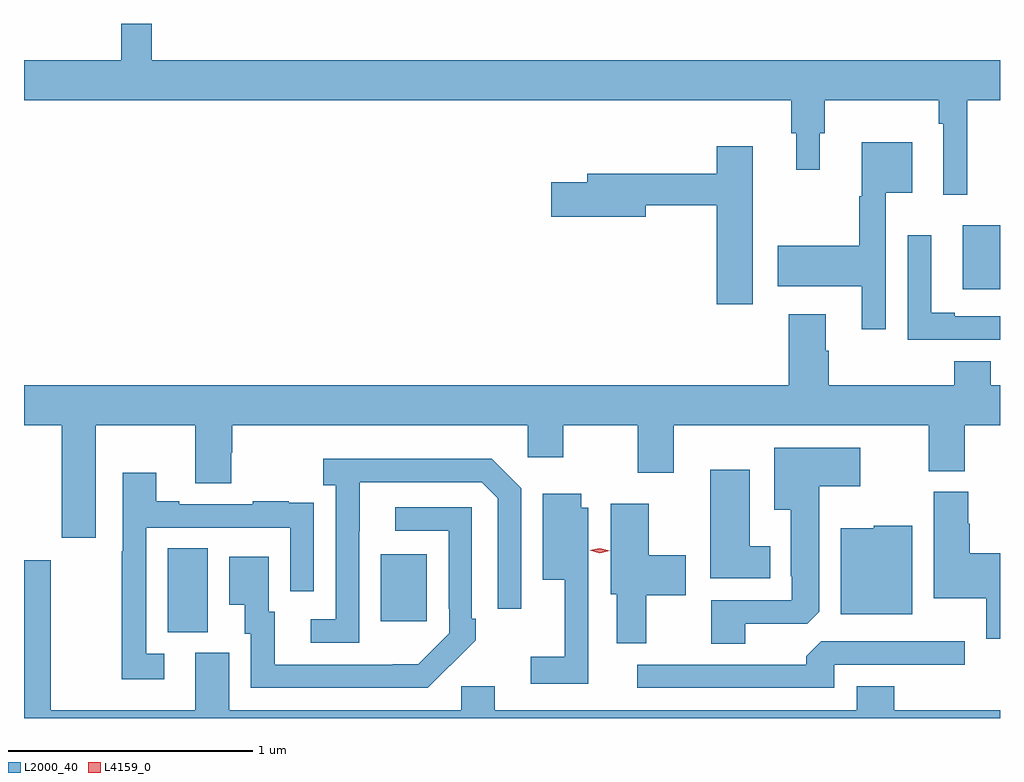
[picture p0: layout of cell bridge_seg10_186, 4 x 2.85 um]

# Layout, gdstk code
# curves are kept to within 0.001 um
import gdstk
lib = gdstk.Library(unit=1e-6, precision=1e-09)
def R(c, l, rs):  # rectangles x0, y0, x1, y1
    for r in rs: c.add(gdstk.rectangle(r[:2], r[2:], *l))
def P(c, l, *ps):  # polygons
    for p in ps: c.add(gdstk.Polygon(p, *l))
L2000_40 = (2000, 40)
L4159_0 = (4159, 0)

bridge_seg10_186 = lib.new_cell('bridge_seg10_186')
R(bridge_seg10_186, L2000_40, [(149.336,1248.853,149.5,1249.196), (150.209,1248.897,150.397,1249.171), (152.594,1250.258,152.746,1250.521)])
P(bridge_seg10_186, L2000_40, [(152.612,1251.032),(152.746,1251.032),(152.746,1251.196),(149.27,1251.196),(149.27,1251.346),(149.144,1251.346),(149.144,1251.196),(148.746,1251.196),(148.746,1251.032),(151.891,1251.032),(151.891,1250.898),(151.91,1250.898),(151.91,1250.748),(152.008,1250.748),(152.008,1250.898),(152.027,1250.898),(152.027,1251.032),(152.494,1251.032),(152.494,1250.936),(152.514,1250.936),(152.514,1250.646),(152.612,1250.646)],
  [(152.277,1250.654),(152.386,1250.654),(152.386,1250.86),(152.18,1250.86),(152.18,1250.64),(152.169,1250.64),(152.169,1250.436),(151.836,1250.436),(151.836,1250.27),(152.18,1250.27),(152.18,1250.094),(152.277,1250.094)],
  [(151.732,1250.845),(151.586,1250.845),(151.586,1250.731),(151.055,1250.731),(151.055,1250.697),(150.906,1250.697),(150.906,1250.555),(151.294,1250.555),(151.294,1250.602),(151.586,1250.602),(151.586,1250.196),(151.732,1250.196)],
  [(152.746,1250.148),(152.56,1250.148),(152.56,1250.161),(152.464,1250.161),(152.464,1250.479),(152.367,1250.479),(152.367,1250.052),(152.746,1250.052)],
  [(149.041,1249.7),(149.447,1249.7),(149.447,1249.462),(149.595,1249.462),(149.595,1249.587),(149.6,1249.587),(149.6,1249.7),(150.81,1249.7),(150.81,1249.569),(150.957,1249.569),(150.957,1249.7),(151.261,1249.7),(151.261,1249.506),(151.408,1249.506),(151.408,1249.7),(152.453,1249.7),(152.453,1249.513),(152.601,1249.513),(152.601,1249.7),(152.746,1249.7),(152.746,1249.864),(152.709,1249.864),(152.709,1249.962),(152.558,1249.962),(152.558,1249.864),(152.045,1249.864),(152.045,1250.006),(152.032,1250.006),(152.032,1250.155),(151.88,1250.155),(151.88,1249.864),(148.746,1249.864),(148.746,1249.7),(148.901,1249.7),(148.901,1249.239),(149.041,1249.239)],
  [(151.702,1248.888),(151.956,1248.888),(152.005,1248.937),(152.005,1249.451),(152.173,1249.451),(152.173,1249.609),(151.82,1249.609),(151.82,1249.355),(151.889,1249.355),(151.889,1249.081),(151.893,1249.081),(151.893,1248.984),(151.562,1248.984),(151.562,1248.805),(151.702,1248.805)],
  [(150.12,1249.267),(150.121,1249.467),(150.621,1249.467),(150.687,1249.401),(150.687,1248.948),(150.783,1248.948),(150.783,1249.443),(150.662,1249.564),(149.973,1249.564),(149.973,1249.454),(150.024,1249.454),(150.024,1248.906),(149.922,1248.906),(149.922,1248.81),(150.12,1248.81)],
  [(151.804,1249.204),(151.72,1249.204),(151.72,1249.519),(151.559,1249.519),(151.559,1249.073),(151.804,1249.073)],
  [(149.32,1248.765),(149.247,1248.765),(149.247,1249.281),(149.838,1249.281),(149.838,1249.02),(149.934,1249.02),(149.934,1249.274),(149.933,1249.274),(149.933,1249.383),(149.831,1249.383),(149.831,1249.39),(149.683,1249.39),(149.683,1249.377),(149.383,1249.377),(149.383,1249.39),(149.287,1249.39),(149.287,1249.507),(149.151,1249.507),(149.151,1249.184),(149.146,1249.184),(149.146,1248.66),(149.32,1248.66)],
  [(152.746,1249.177),(152.621,1249.177),(152.621,1249.298),(152.616,1249.298),(152.616,1249.428),(152.474,1249.428),(152.474,1248.992),(152.69,1248.992),(152.69,1248.825),(152.746,1248.825)],
  [(151.059,1249.363),(151.03,1249.363),(151.03,1249.42),(150.872,1249.42),(150.872,1249.067),(150.962,1249.067),(150.962,1248.751),(150.822,1248.751),(150.822,1248.642),(151.059,1248.642)],
  [(151.297,1249.004),(151.459,1249.004),(151.459,1249.167),(151.306,1249.167),(151.306,1249.378),(151.151,1249.378),(151.151,1249.008),(151.175,1249.008),(151.175,1248.807),(151.297,1248.807)],
  [(150.491,1248.715),(150.492,1248.714),(150.597,1248.819),(150.597,1248.907),(150.582,1248.907),(150.582,1249.365),(150.267,1249.365),(150.267,1249.269),(150.486,1249.269),(150.486,1248.949),(150.489,1248.949),(150.489,1248.849),(150.361,1248.721),(149.773,1248.72),(149.773,1248.936),(149.749,1248.936),(149.749,1249.162),(149.588,1249.162),(149.588,1248.965),(149.651,1248.965),(149.651,1248.846),(149.676,1248.846),(149.676,1248.624),(150.4,1248.624)],
  [(152.386,1249.288),(152.229,1249.288),(152.229,1249.279),(152.093,1249.279),(152.093,1248.926),(152.386,1248.926)],
  [(152.746,1248.532),(152.312,1248.532),(152.312,1248.631),(152.159,1248.631),(152.159,1248.532),(150.676,1248.532),(150.676,1248.63),(150.537,1248.63),(150.537,1248.532),(149.587,1248.532),(149.587,1248.768),(149.447,1248.768),(149.447,1248.532),(148.855,1248.532),(148.855,1249.147),(148.746,1249.147),(148.746,1248.5),(152.746,1248.5)],
  [(152.067,1248.72),(152.602,1248.72),(152.602,1248.816),(152.013,1248.816),(152.005,1248.808),(151.952,1248.754),(151.952,1248.72),(151.26,1248.72),(151.26,1248.624),(152.067,1248.624)])
P(bridge_seg10_186, L4159_0, [(151.105,1249.177),(151.064,1249.188),(151.064,1249.188),(151.064,1249.188),(151.105,1249.197),(151.146,1249.186),(151.146,1249.186),(151.146,1249.186)])

lib.write_gds('bridge_seg10_186.gds')
